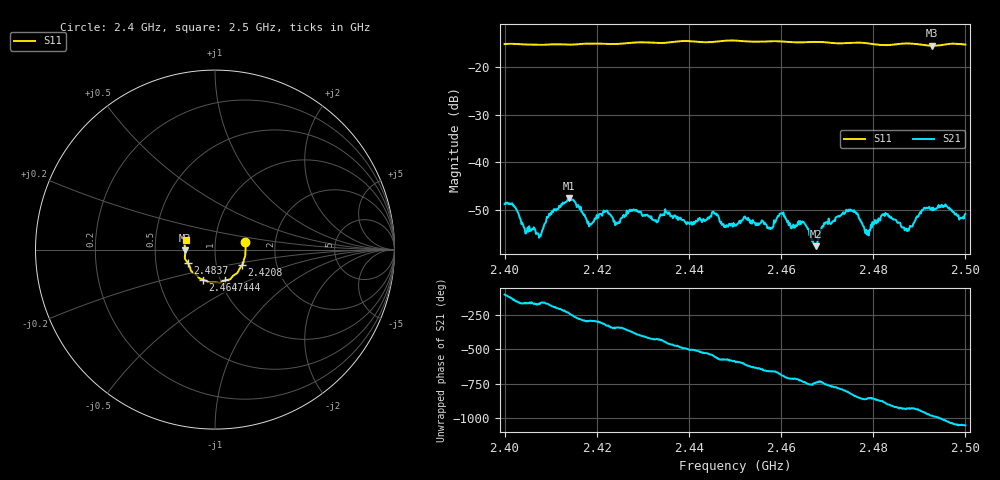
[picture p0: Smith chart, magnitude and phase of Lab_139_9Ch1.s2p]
# Hz S RI R 50
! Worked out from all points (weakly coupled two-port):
!   601 points, 2.4 GHz to 2.5 GHz, reference 50 ohm
!   highest |S21| = -47.52 dB at 2.414 GHz (marker M1); lowest = -57.5 dB at 2.4675 GHz (marker M2)
!   lowest |S11| = -15.6 dB at 2.4928 GHz (marker M3), VSWR 1.40, Z = 35.8 - j0.335 ohm
!   |S11| at or under -10 dB: start of sweep to end of sweep
!   S12 and S22 are empty: the file has one direction only
!   S11 on the Smith chart (normalised r, x): 2.4 GHz: 1.40, +0.12; 2.4208 GHz: 1.33, -0.24; 2.444 GHz: 1.06, -0.37; 2.4647 GHz: 0.83, -0.29; 2.4837 GHz: 0.73, -0.11; 2.5 GHz: 0.72, +0.08
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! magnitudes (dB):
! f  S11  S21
! 2.4 GHz  -15.3  -48.7
! 2.4073 GHz  -15.4  -54.9
! 2.414 GHz  -15.4  -47.5
! 2.4167 GHz  -15.2  -50.3
! 2.4185 GHz  -15.2  -53.1
! 2.4208 GHz  -15.2  -50.8
! 2.4333 GHz  -15.0  -52.2
! 2.444 GHz  -14.9  -51.8
! 2.45 GHz  -14.5  -53.1
! 2.4578 GHz  -14.7  -53.8
! 2.46 GHz  -14.7  -50.7
! 2.4647 GHz  -14.9  -52.4
! 2.4667 GHz  -14.8  -56.4
! 2.4675 GHz  -14.8  -57.5
! 2.4693 GHz  -14.9  -52.7
! 2.4745 GHz  -15.0  -50.3
! 2.4787 GHz  -15.1  -55.1
! 2.4833 GHz  -15.5  -51.4
! 2.4837 GHz  -15.4  -51.6
! 2.4873 GHz  -15.1  -54.4
! 2.4928 GHz  -15.6  -50.1
! 2.5 GHz  -15.4  -50.8
